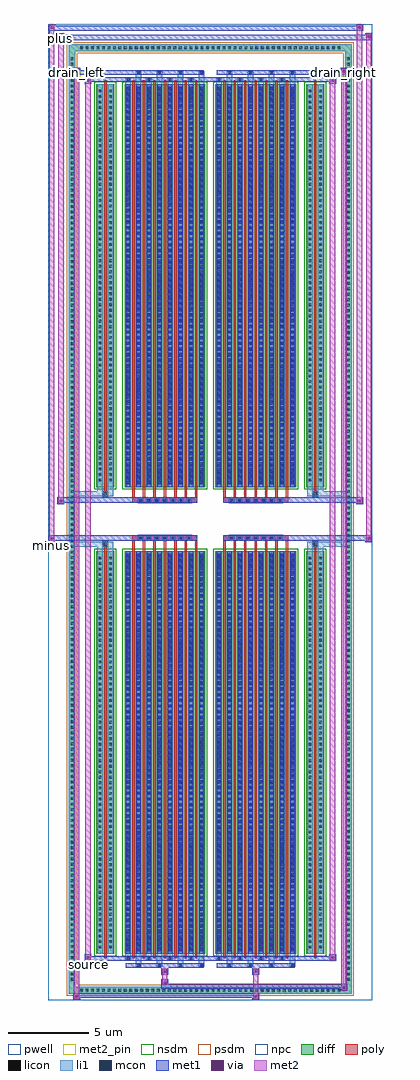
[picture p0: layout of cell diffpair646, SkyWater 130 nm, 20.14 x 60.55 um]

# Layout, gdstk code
import gdstk
lib = gdstk.Library(unit=1e-6, precision=5e-09)
def R(c, l, rs):  # rectangles x0, y0, x1, y1
    for r in rs: c.add(gdstk.rectangle(r[:2], r[2:], *l))
def A(c, l, x, y, w, h, nx, ny, dx, dy):  # array of equal rectangles
    R(c, l, [(x+i*dx, y+j*dy, x+i*dx+w, y+j*dy+h) for i in range(nx) for j in range(ny)])
def P(c, l, *ps):  # polygons
    for p in ps: c.add(gdstk.Polygon(p, *l))
pwell = (64, 44)
diff = (65, 20)
poly = (66, 20)
licon = (66, 44)
li1 = (67, 20)
mcon = (67, 44)
met1 = (68, 20)
via = (68, 44)
met2_pin = (69, 16)
met2 = (69, 20)
nsdm = (93, 44)
psdm = (94, 20)
npc = (95, 20)

diffpair646 = lib.new_cell('diffpair646')
R(diffpair646, pwell, [(-10.05,-29.84,10.05,30.71), (-7.37,-28.03,-0.01,-0.805), (0.01,-28.03,7.37,-0.805), (-7.37,0.805,-0.01,28.03), (0.01,0.805,7.37,28.03)])
A(diffpair646, diff, -8.195, -29.44, 0.41, 0.41, 48, 2, 0.34, 58.47)
A(diffpair646, diff, -8.78, -28.765, 0.41, 0.41, 1, 169, 0, 0.34)
A(diffpair646, diff, 8.37, -28.765, 0.41, 0.41, 1, 169, 0, 0.34)
R(diffpair646, diff, [(-8.195,-29.44,8.195,-29.03), (-8.78,-28.765,-8.37,28.765), (8.37,-28.765,8.78,28.765), (-7.06,-26.985,-5.96,-1.985), (-5.32,-26.985,-0.32,-1.985), (0.32,-26.985,5.32,-1.985), (5.96,-26.985,7.06,-1.985), (-7.06,1.985,-5.96,26.985), (-5.32,1.985,-0.32,26.985), (0.32,1.985,5.32,26.985), (5.96,1.985,7.06,26.985), (-8.195,29.03,8.195,29.44)])
P(diffpair646, diff, [(8.78,29.44),(-8.78,29.44),(-8.78,-29.03),(-8.37,-29.03),(-8.37,29.03),(8.37,29.03),(8.37,-29.03),(-8.37,-29.03),(-8.78,-29.03),(-8.78,-29.44),(8.78,-29.44)])
A(diffpair646, poly, -4.845, -27.235, 0.15, 25.5, 7, 2, 0.65, 28.97)
A(diffpair646, poly, 0.795, -27.235, 0.15, 25.5, 7, 2, 0.65, 28.97)
A(diffpair646, poly, -4.845, -1.735, 0.15, 0.4, 7, 2, 0.65, 3.07)
A(diffpair646, poly, 0.795, -1.735, 0.15, 0.4, 7, 2, 0.65, 3.07)
A(diffpair646, poly, -4.485, -1.335, 0.33, 0.33, 7, 2, 0.5, 2.34)
A(diffpair646, poly, 1.155, -1.335, 0.33, 0.33, 7, 2, 0.5, 2.34)
R(diffpair646, poly, [(-6.585,-27.235,-6.435,-1.735), (6.435,-27.235,6.585,-1.735), (-6.675,-1.735,-6.345,-1.405), (-6.675,-1.735,-6.345,-1.405), (6.345,-1.735,6.675,-1.405), (6.345,-1.735,6.675,-1.405), (-4.845,-1.335,-0.795,-1.005), (0.795,-1.335,4.845,-1.005), (-4.845,1.005,-0.795,1.335), (0.795,1.005,4.845,1.335), (-6.675,1.405,-6.345,1.735), (-6.675,1.405,-6.345,1.735), (6.345,1.405,6.675,1.735), (6.345,1.405,6.675,1.735), (-6.585,1.735,-6.435,27.235), (6.435,1.735,6.585,27.235)])
A(diffpair646, licon, -8.075, -29.32, 0.17, 0.17, 48, 2, 0.34, 58.47)
A(diffpair646, licon, -8.66, -28.645, 0.17, 0.17, 1, 169, 0, 0.34)
A(diffpair646, licon, 8.49, -28.645, 0.17, 0.17, 1, 169, 0, 0.34)
A(diffpair646, licon, -6.92, -26.64, 0.17, 0.17, 1, 72, 0, 0.34)
A(diffpair646, licon, -6.27, -26.64, 0.17, 0.17, 1, 72, 0, 0.34)
A(diffpair646, licon, -5.18, -26.64, 0.17, 0.17, 8, 72, 0.65, 0.34)
A(diffpair646, licon, 0.46, -26.64, 0.17, 0.17, 8, 72, 0.65, 0.34)
A(diffpair646, licon, 6.1, -26.64, 0.17, 0.17, 1, 72, 0, 0.34)
A(diffpair646, licon, 6.75, -26.64, 0.17, 0.17, 1, 72, 0, 0.34)
A(diffpair646, licon, -4.405, -1.255, 0.17, 0.17, 7, 2, 0.5, 2.34)
A(diffpair646, licon, 1.235, -1.255, 0.17, 0.17, 7, 2, 0.5, 2.34)
A(diffpair646, licon, -6.92, 2.33, 0.17, 0.17, 1, 72, 0, 0.34)
A(diffpair646, licon, -6.27, 2.33, 0.17, 0.17, 1, 72, 0, 0.34)
A(diffpair646, licon, -5.18, 2.33, 0.17, 0.17, 8, 72, 0.65, 0.34)
A(diffpair646, licon, 0.46, 2.33, 0.17, 0.17, 8, 72, 0.65, 0.34)
A(diffpair646, licon, 6.1, 2.33, 0.17, 0.17, 1, 72, 0, 0.34)
A(diffpair646, licon, 6.75, 2.33, 0.17, 0.17, 1, 72, 0, 0.34)
R(diffpair646, licon, [(-6.595,-1.655,-6.425,-1.485), (6.425,-1.655,6.595,-1.485), (-6.595,1.485,-6.425,1.655), (6.425,1.485,6.595,1.655)])
A(diffpair646, li1, -8.155, -29.4, 0.33, 0.33, 48, 2, 0.34, 58.47)
A(diffpair646, li1, -8.74, -28.725, 0.33, 0.33, 1, 169, 0, 0.34)
A(diffpair646, li1, 8.41, -28.725, 0.33, 0.33, 1, 169, 0, 0.34)
A(diffpair646, li1, -4.61, -27.79, 0.33, 0.805, 4, 2, 1.3, 54.775)
A(diffpair646, li1, -4.53, -27.79, 0.17, 0.17, 4, 2, 1.3, 55.41)
A(diffpair646, li1, 1.03, -27.79, 0.33, 0.805, 4, 2, 1.3, 54.775)
A(diffpair646, li1, 1.11, -27.79, 0.17, 0.17, 4, 2, 1.3, 55.41)
A(diffpair646, li1, -5.26, -27.36, 0.33, 0.375, 4, 2, 1.3, 54.345)
A(diffpair646, li1, -5.18, -27.36, 0.17, 0.17, 4, 2, 1.3, 54.55)
A(diffpair646, li1, 0.38, -27.36, 0.33, 0.375, 4, 2, 1.3, 54.345)
A(diffpair646, li1, 0.46, -27.36, 0.17, 0.17, 4, 2, 1.3, 54.55)
A(diffpair646, li1, -5.26, -26.985, 0.33, 25, 8, 2, 0.65, 28.97)
A(diffpair646, li1, 0.38, -26.985, 0.33, 25, 8, 2, 0.65, 28.97)
A(diffpair646, li1, -5.18, -26.81, 0.17, 0.17, 8, 69, 0.65, 0.36)
A(diffpair646, li1, -5.18, -26.81, 0.17, 24.65, 8, 2, 0.65, 28.97)
A(diffpair646, li1, 0.46, -26.81, 0.17, 0.17, 8, 69, 0.65, 0.36)
A(diffpair646, li1, 0.46, -26.81, 0.17, 24.65, 8, 2, 0.65, 28.97)
A(diffpair646, li1, -7, -26.72, 0.33, 0.33, 1, 72, 0, 0.34)
A(diffpair646, li1, -6.35, -26.72, 0.33, 0.33, 1, 72, 0, 0.34)
A(diffpair646, li1, -5.26, -26.72, 0.33, 0.33, 8, 72, 0.65, 0.34)
A(diffpair646, li1, 0.38, -26.72, 0.33, 0.33, 8, 72, 0.65, 0.34)
A(diffpair646, li1, 6.02, -26.72, 0.33, 0.33, 1, 72, 0, 0.34)
A(diffpair646, li1, 6.67, -26.72, 0.33, 0.33, 1, 72, 0, 0.34)
A(diffpair646, li1, -4.485, -1.335, 0.33, 0.33, 7, 2, 0.5, 2.34)
A(diffpair646, li1, 1.155, -1.335, 0.33, 0.33, 7, 2, 0.5, 2.34)
A(diffpair646, li1, -5.18, 2.16, 0.17, 0.17, 8, 69, 0.65, 0.36)
A(diffpair646, li1, 0.46, 2.16, 0.17, 0.17, 8, 69, 0.65, 0.36)
A(diffpair646, li1, -7, 2.25, 0.33, 0.33, 1, 72, 0, 0.34)
A(diffpair646, li1, -6.35, 2.25, 0.33, 0.33, 1, 72, 0, 0.34)
A(diffpair646, li1, -5.26, 2.25, 0.33, 0.33, 8, 72, 0.65, 0.34)
A(diffpair646, li1, 0.38, 2.25, 0.33, 0.33, 8, 72, 0.65, 0.34)
A(diffpair646, li1, 6.02, 2.25, 0.33, 0.33, 1, 72, 0, 0.34)
A(diffpair646, li1, 6.67, 2.25, 0.33, 0.33, 1, 72, 0, 0.34)
R(diffpair646, li1, [(-8.78,-29.44,-8.37,-29.03), (-8.78,-29.44,-8.37,-29.03), (-8.37,-29.44,8.37,-29.03), (8.37,-29.44,8.78,-29.03), (8.37,-29.44,8.78,-29.03), (-8.78,-29.03,-8.37,29.03), (8.37,-29.03,8.78,29.03), (-7,-26.985,-6.67,-1.985), (-6.35,-26.985,-6.02,-1.985), (6.02,-26.985,6.35,-1.985), (6.67,-26.985,7,-1.985), (-7,-1.985,-6.67,-1.405), (-6.35,-1.985,-6.02,-1.405), (6.02,-1.985,6.35,-1.405), (6.67,-1.985,7,-1.405), (-8.78,-1.735,-6.675,-1.405), (-7,-1.735,-6.675,-1.405), (-6.675,-1.735,-6.345,-1.405), (-6.345,-1.735,-6.02,-1.405), (6.02,-1.735,6.345,-1.405), (6.345,-1.735,6.675,-1.405), (6.345,-1.735,8.78,-1.405), (6.675,-1.735,7,-1.405), (-8.78,1.405,-6.675,1.735), (-7,1.405,-6.675,1.735), (-7,1.405,-6.67,1.985), (-6.675,1.405,-6.345,1.735), (-6.35,1.405,-6.02,1.985), (-6.345,1.405,-6.02,1.735), (6.02,1.405,6.345,1.735), (6.02,1.405,6.35,1.985), (6.345,1.405,6.675,1.735), (6.345,1.405,8.78,1.735), (6.67,1.405,7,1.985), (6.675,1.405,7,1.735), (-7,1.985,-6.67,26.985), (-6.35,1.985,-6.02,26.985), (6.02,1.985,6.35,26.985), (6.67,1.985,7,26.985), (-8.78,29.03,-8.37,29.44), (-8.78,29.03,-8.37,29.44), (-8.37,29.03,8.37,29.44), (8.37,29.03,8.78,29.44), (8.37,29.03,8.78,29.44)])
A(diffpair646, mcon, -4.53, -27.79, 0.17, 0.17, 4, 2, 1.3, 55.41)
A(diffpair646, mcon, 1.11, -27.79, 0.17, 0.17, 4, 2, 1.3, 55.41)
A(diffpair646, mcon, -5.18, -27.36, 0.17, 0.17, 4, 2, 1.3, 54.55)
A(diffpair646, mcon, 0.46, -27.36, 0.17, 0.17, 4, 2, 1.3, 54.55)
A(diffpair646, mcon, -5.18, -26.81, 0.17, 0.17, 8, 69, 0.65, 0.36)
A(diffpair646, mcon, 0.46, -26.81, 0.17, 0.17, 8, 69, 0.65, 0.36)
A(diffpair646, mcon, -4.405, -1.255, 0.17, 0.17, 7, 2, 0.5, 2.34)
A(diffpair646, mcon, 1.235, -1.255, 0.17, 0.17, 7, 2, 0.5, 2.34)
A(diffpair646, mcon, -5.18, 2.16, 0.17, 0.17, 8, 69, 0.65, 0.36)
A(diffpair646, mcon, 0.46, 2.16, 0.17, 0.17, 8, 69, 0.65, 0.36)
A(diffpair646, met1, -4.59, -27.85, 0.29, 0.29, 4, 2, 1.3, 55.41)
A(diffpair646, met1, 1.05, -27.85, 0.29, 0.29, 4, 2, 1.3, 55.41)
A(diffpair646, met1, -5.24, -27.42, 0.29, 0.29, 4, 2, 1.3, 54.55)
A(diffpair646, met1, 0.4, -27.42, 0.29, 0.29, 4, 2, 1.3, 54.55)
A(diffpair646, met1, -5.24, -26.985, 0.29, 25, 8, 2, 0.65, 28.97)
A(diffpair646, met1, 0.4, -26.985, 0.29, 25, 8, 2, 0.65, 28.97)
A(diffpair646, met1, -5.24, -26.87, 0.29, 0.29, 8, 69, 0.65, 0.36)
A(diffpair646, met1, 0.4, -26.87, 0.29, 0.29, 8, 69, 0.65, 0.36)
A(diffpair646, met1, -4.465, -1.315, 0.29, 0.29, 7, 2, 0.5, 2.34)
A(diffpair646, met1, 1.175, -1.315, 0.29, 0.29, 7, 2, 0.5, 2.34)
A(diffpair646, met1, -5.24, 2.1, 0.29, 0.29, 8, 69, 0.65, 0.36)
A(diffpair646, met1, 0.4, 2.1, 0.29, 0.29, 8, 69, 0.65, 0.36)
R(diffpair646, met1, [(-8.51,-29.84,-8.08,-29.41), (2.605,-29.84,3.035,-29.41), (-8.51,-29.7,3.035,-29.41), (8.08,-29.27,8.51,-28.84), (-3.035,-29.13,8.51,-28.84), (-3.035,-28.99,-2.605,-28.56), (-3.035,-28.28,-2.605,-27.85), (2.605,-28.28,3.035,-27.85), (-5.24,-27.85,-0.4,-27.56), (0.4,-27.85,5.24,-27.56), (-7.8,-27.42,-7.37,-26.99), (-7.8,-27.42,-5.24,-27.13), (-5.24,-27.42,-0.4,-27.13), (-0.4,-27.42,0.4,-27.13), (0.4,-27.42,5.24,-27.13), (5.24,-27.42,7.8,-27.13), (7.37,-27.42,7.8,-26.99), (-10.05,-1.435,-9.62,-1.005), (9.62,-1.435,10.05,-1.005), (-10.05,-1.335,-0.795,-1.005), (-4.845,-1.335,-0.795,-1.005), (0.795,-1.335,4.845,-1.005), (0.795,-1.335,10.05,-1.005), (-9.48,0.905,-9.05,1.335), (9.05,0.905,9.48,1.335), (-9.48,1.005,-4.845,1.335), (-4.845,1.005,-0.795,1.335), (0.795,1.005,4.845,1.335), (4.845,1.005,9.48,1.335), (-7.8,26.99,-7.37,27.42), (7.37,26.99,7.8,27.42), (-7.8,27.13,-5.24,27.42), (-5.24,27.13,-0.4,27.42), (-0.4,27.13,0.4,27.42), (0.4,27.13,5.24,27.42), (5.24,27.13,7.8,27.42), (-8.51,27.56,-8.08,27.99), (-8.51,27.56,-5.24,27.85), (-5.24,27.56,-0.4,27.85), (0.4,27.56,5.24,27.85), (5.24,27.56,8.51,27.85), (8.08,27.56,8.51,27.99), (-9.48,29.71,-9.05,30.14), (-9.48,29.71,-7.37,30.04), (-7.37,29.71,7.37,30.04), (7.37,29.71,10.05,30.04), (9.62,29.71,10.05,30.14), (-10.05,30.28,-9.62,30.71), (-10.05,30.28,-7.37,30.61), (-7.37,30.28,7.37,30.61), (7.37,30.28,9.48,30.61), (9.05,30.28,9.48,30.71)])
R(diffpair646, via, [(-8.37,-29.7,-8.22,-29.55), (2.745,-29.7,2.895,-29.55), (8.22,-29.13,8.37,-28.98), (-2.895,-28.85,-2.745,-28.7), (-2.895,-28.14,-2.745,-27.99), (2.745,-28.14,2.895,-27.99), (-7.66,-27.28,-7.51,-27.13), (7.51,-27.28,7.66,-27.13), (-9.91,-1.295,-9.76,-1.145), (9.76,-1.295,9.91,-1.145), (-9.34,1.045,-9.19,1.195), (9.19,1.045,9.34,1.195), (-7.66,27.13,-7.51,27.28), (7.51,27.13,7.66,27.28), (-8.37,27.7,-8.22,27.85), (8.22,27.7,8.37,27.85), (-9.34,29.85,-9.19,30), (9.76,29.85,9.91,30), (-9.91,30.42,-9.76,30.57), (9.19,30.42,9.34,30.57)])
R(diffpair646, met2_pin, [(-7.835,-27.87,-7.335,-27.37), (-10.085,-1.885,-9.585,-1.385), (-8.545,27.44,-8.045,27.94), (8.045,27.44,8.545,27.94), (-9.515,29.59,-9.015,30.09)])
R(diffpair646, met2, [(-8.46,-29.79,-8.13,-29.46), (-8.46,-29.79,-8.13,27.94), (2.655,-29.79,2.985,-29.46), (2.655,-29.46,2.985,-28.23), (8.13,-29.22,8.46,-28.89), (8.13,-29.22,8.46,27.94), (-2.985,-28.94,-2.655,-28.61), (-2.985,-28.61,-2.655,-28.23), (-2.985,-28.23,-2.655,-27.9), (2.655,-28.23,2.985,-27.9), (-7.75,-27.37,-7.42,-27.04), (-7.75,-27.37,-7.42,27.37), (7.42,-27.37,7.75,-27.04), (7.42,-27.37,7.75,27.37), (-10,-1.385,-9.67,-1.055), (-10,-1.385,-9.67,30.66), (9.67,-1.385,10,-1.055), (9.67,-1.385,10,30.09), (-9.43,0.955,-9.1,1.285), (-9.43,0.955,-9.1,30.09), (9.1,0.955,9.43,1.285), (9.1,0.955,9.43,30.66), (-7.75,27.04,-7.42,27.37), (7.42,27.04,7.75,27.37), (-8.46,27.61,-8.13,27.94), (8.13,27.61,8.46,27.94), (-9.43,29.76,-9.1,30.09), (9.67,29.76,10,30.09), (-10,30.33,-9.67,30.66), (9.1,30.33,9.43,30.66)])
P(diffpair646, met2, [(10,-1.385),(10,-1.385),(10,-1.055),(10,-1.055)],
  [(10,29.76),(10,29.76),(10,30.09),(10,30.09)],
  [(-9.67,-1.385),(-9.67,-1.385),(-9.67,-1.055),(-9.67,-1.055)],
  [(-9.67,30.33),(-9.67,30.33),(-9.67,30.66),(-9.67,30.66)],
  [(9.43,0.955),(9.43,0.955),(9.43,1.285),(9.43,1.285)],
  [(9.43,30.33),(9.43,30.33),(9.43,30.66),(9.43,30.66)],
  [(-9.1,0.955),(-9.1,0.955),(-9.1,1.285),(-9.1,1.285)],
  [(-9.1,29.76),(-9.1,29.76),(-9.1,30.09),(-9.1,30.09)],
  [(-8.13,-29.79),(-8.13,-29.79),(-8.13,-29.46),(-8.13,-29.46)],
  [(-8.13,27.61),(-8.13,27.61),(-8.13,27.94),(-8.13,27.94)],
  [(8.46,-29.22),(8.46,-29.22),(8.46,-28.89),(8.46,-28.89)],
  [(8.46,27.61),(8.46,27.61),(8.46,27.94),(8.46,27.94)],
  [(-7.42,-27.37),(-7.42,-27.37),(-7.42,-27.04),(-7.42,-27.04)],
  [(-7.42,27.04),(-7.42,27.04),(-7.42,27.37),(-7.42,27.37)],
  [(7.75,-27.37),(7.75,-27.37),(7.75,-27.04),(7.75,-27.04)],
  [(7.75,27.04),(7.75,27.04),(7.75,27.37),(7.75,27.37)])
R(diffpair646, nsdm, [(-7.19,-27.115,-5.83,-1.855), (-5.45,-27.115,-0.19,-1.855), (0.19,-27.115,5.45,-1.855), (5.83,-27.115,7.19,-1.855), (-7.19,1.855,-5.83,27.115), (-5.45,1.855,-0.19,27.115), (0.19,1.855,5.45,27.115), (5.83,1.855,7.19,27.115)])
P(diffpair646, psdm, [(8.91,29.57),(-8.91,29.57),(-8.91,-28.9),(-8.24,-28.9),(-8.24,28.9),(8.24,28.9),(8.24,-28.9),(-8.24,-28.9),(-8.91,-28.9),(-8.91,-29.57),(8.91,-29.57)])
A(diffpair646, npc, -4.505, -1.355, 0.37, 0.37, 7, 2, 0.5, 2.34)
A(diffpair646, npc, 1.135, -1.355, 0.37, 0.37, 7, 2, 0.5, 2.34)
R(diffpair646, npc, [(-6.695,-1.755,-6.325,-1.385), (6.325,-1.755,6.695,-1.385), (-4.505,-1.355,-3.635,-0.985), (-4.505,-1.355,-3.635,-0.985), (-4.005,-1.355,-3.135,-0.985), (-4.005,-1.355,-3.135,-0.985), (-3.505,-1.355,-2.635,-0.985), (-3.505,-1.355,-2.635,-0.985), (-3.005,-1.355,-2.135,-0.985), (-3.005,-1.355,-2.135,-0.985), (-2.505,-1.355,-1.635,-0.985), (-2.505,-1.355,-1.635,-0.985), (-2.005,-1.355,-1.135,-0.985), (-2.005,-1.355,-1.135,-0.985), (1.135,-1.355,2.005,-0.985), (1.135,-1.355,2.005,-0.985), (1.635,-1.355,2.505,-0.985), (1.635,-1.355,2.505,-0.985), (2.135,-1.355,3.005,-0.985), (2.135,-1.355,3.005,-0.985), (2.635,-1.355,3.505,-0.985), (2.635,-1.355,3.505,-0.985), (3.135,-1.355,4.005,-0.985), (3.135,-1.355,4.005,-0.985), (3.635,-1.355,4.505,-0.985), (3.635,-1.355,4.505,-0.985), (-4.505,0.985,-3.635,1.355), (-4.505,0.985,-3.635,1.355), (-4.005,0.985,-3.135,1.355), (-4.005,0.985,-3.135,1.355), (-3.505,0.985,-2.635,1.355), (-3.505,0.985,-2.635,1.355), (-3.005,0.985,-2.135,1.355), (-3.005,0.985,-2.135,1.355), (-2.505,0.985,-1.635,1.355), (-2.505,0.985,-1.635,1.355), (-2.005,0.985,-1.135,1.355), (-2.005,0.985,-1.135,1.355), (1.135,0.985,2.005,1.355), (1.135,0.985,2.005,1.355), (1.635,0.985,2.505,1.355), (1.635,0.985,2.505,1.355), (2.135,0.985,3.005,1.355), (2.135,0.985,3.005,1.355), (2.635,0.985,3.505,1.355), (2.635,0.985,3.505,1.355), (3.135,0.985,4.005,1.355), (3.135,0.985,4.005,1.355), (3.635,0.985,4.505,1.355), (3.635,0.985,4.505,1.355), (-6.695,1.385,-6.325,1.755), (6.325,1.385,6.695,1.755)])
diffpair646.add(gdstk.Label('minus', (-9.835,-1.635), layer=69, texttype=5))
diffpair646.add(gdstk.Label('drain_right', (8.295,27.69), layer=69, texttype=5))
diffpair646.add(gdstk.Label('drain_left', (-8.295,27.69), layer=69, texttype=5))
diffpair646.add(gdstk.Label('source', (-7.585,-27.62), layer=69, texttype=5))
diffpair646.add(gdstk.Label('plus', (-9.265,29.84), layer=69, texttype=5))

lib.write_gds('diffpair646.gds')
